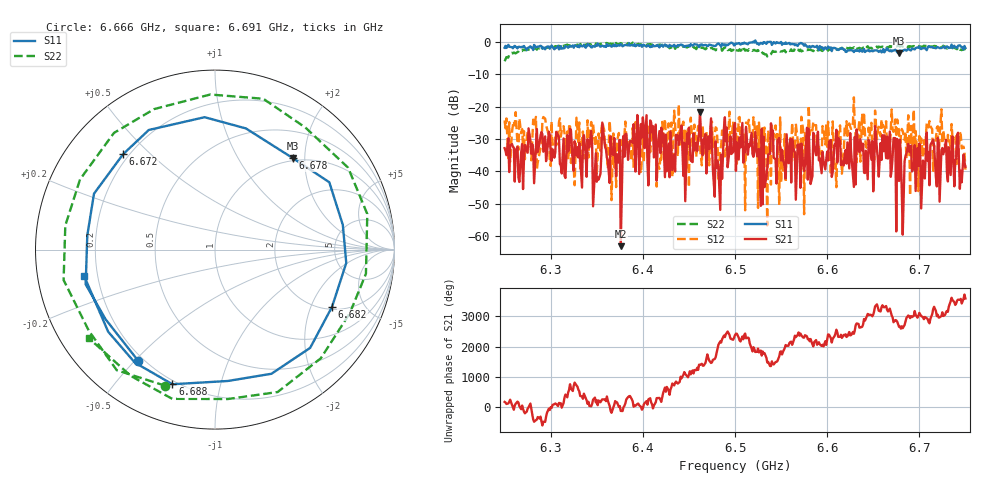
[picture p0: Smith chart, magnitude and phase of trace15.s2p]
# Hz S RI R 50
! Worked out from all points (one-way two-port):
!   401 points, 6.25 GHz to 6.75 GHz, reference 50 ohm
!   highest |S21| = -21.55 dB at 6.462 GHz (marker M1); lowest = -63.1 dB at 6.376 GHz (marker M2)
!   lowest |S11| = -3.5 dB at 6.678 GHz (marker M3), VSWR 5.04, Z = 47.5 + j87.8 ohm
!   |S11| at or under -10 dB: nowhere
!   |S22| runs from -5.9 to -0.2 dB; largest |S21 - S12| = 0.15
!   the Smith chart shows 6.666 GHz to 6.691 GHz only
!   S11 on the Smith chart (normalised r, x): 6.666 GHz: 0.18, -0.51; 6.672 GHz: 0.18, +0.41; 6.678 GHz: 0.95, +1.76; 6.682 GHz: 2.13, -2.86; 6.688 GHz: 0.18, -0.72; 6.691 GHz: 0.15, -0.10
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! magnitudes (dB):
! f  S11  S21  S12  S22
! 6.25 GHz  -1.8  -32.8  -24.2  -5.9
! 6.334 GHz  -1.3  -45.0  -29.0  -0.5
! 6.376 GHz  -0.7  -63.1  -33.1  -0.3
! 6.418 GHz  -1.6  -27.5  -39.2  -0.8
! 6.424 GHz  -0.7  -41.8  -23.8  -1.0
! 6.462 GHz  -0.9  -21.5  -32.6  -1.5
! 6.484 GHz  -0.9  -51.9  -33.3  -2.2
! 6.5 GHz  -0.8  -25.0  -27.5  -2.7
! 6.536 GHz  0.0  -34.8  -27.3  -3.9
! 6.542 GHz  0.0  -35.8  -28.8  -3.0
! 6.55 GHz  0.0  -36.7  -43.5  -2.9
! 6.584 GHz  -1.2  -41.4  -27.3  -2.7
! 6.61 GHz  -2.1  -27.1  -44.9  -2.4
! 6.626 GHz  -2.5  -34.2  -26.8  -1.9
! 6.666 GHz  -2.5  -36.0  -35.2  -1.9
! 6.668 GHz  -2.8  -27.6  -33.1  -1.2
! 6.672 GHz  -2.6  -29.7  -27.8  -1.4
! 6.678 GHz  -3.5  -42.9  -27.7  -1.1
! 6.682 GHz  -2.8  -59.6  -27.5  -1.4
! 6.688 GHz  -2.1  -31.5  -22.6  -1.6
! 6.691 GHz  -2.6  -32.0  -25.9  -1.3
! 6.75 GHz  -1.9  -38.6  -39.5  -2.1
